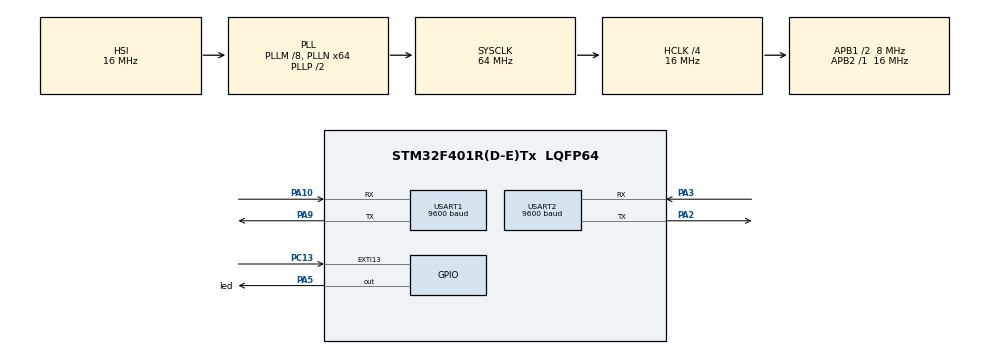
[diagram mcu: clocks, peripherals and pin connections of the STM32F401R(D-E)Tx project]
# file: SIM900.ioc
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Mcu.Family=STM32F4
Mcu.Name=STM32F401R(D-E)Tx
Mcu.Package=LQFP64
NVIC.EXTI15_10_IRQn=true\:0\:0\:false\:false\:true\:true\:true
NVIC.PriorityGroup=NVIC_PRIORITYGROUP_0
NVIC.USART1_IRQn=true\:0\:0\:false\:false\:true\:true\:true
NVIC.USART2_IRQn=true\:0\:0\:false\:false\:true\:true\:true
PA10.GPIO_PuPd=GPIO_NOPULL
PA10.Mode=Asynchronous
PA10.Signal=USART1_RX
PA2.GPIO_ModeDefaultPP=GPIO_MODE_AF_PP
PA2.GPIO_PuPd=GPIO_NOPULL
PA2.GPIO_Speed=GPIO_SPEED_FREQ_LOW
PA2.Mode=Asynchronous
PA2.Signal=USART2_TX
PA3.GPIO_Speed=GPIO_SPEED_FREQ_LOW
PA3.Mode=Asynchronous
PA3.Signal=USART2_RX
PA5.GPIO_Label=led
PA5.Signal=GPIO_Output
PA9.GPIO_ModeDefaultPP=GPIO_MODE_AF_PP
PA9.GPIO_PuPd=GPIO_NOPULL
PA9.Mode=Asynchronous
PA9.Signal=USART1_TX
PC13-ANTI_TAMP.GPIO_ModeDefaultEXTI=GPIO_MODE_IT_FALLING
PC13-ANTI_TAMP.GPIO_PuPd=GPIO_PULLUP
PC13-ANTI_TAMP.Signal=GPXTI13
PH0\ -\ OSC_IN.Mode=HSE-External-Oscillator
PH0\ -\ OSC_IN.Signal=RCC_OSC_IN
PH1\ -\ OSC_OUT.Mode=HSE-External-Oscillator
PH1\ -\ OSC_OUT.Signal=RCC_OSC_OUT
ProjectManager.HeapSize=0x2000
ProjectManager.StackSize=0x4000
ProjectManager.TargetToolchain=MDK-ARM V5.27
RCC.48MHZClocksFreq_Value=18285714.285714287
RCC.AHBCLKDivider=RCC_SYSCLK_DIV4
RCC.AHBFreq_Value=16000000
RCC.APB1CLKDivider=RCC_HCLK_DIV2
RCC.APB1Freq_Value=8000000
RCC.APB1TimFreq_Value=16000000
RCC.APB2Freq_Value=16000000
RCC.APB2TimFreq_Value=16000000
RCC.CortexFreq_Value=16000000
RCC.HCLKFreq_Value=16000000
RCC.HSE_VALUE=8000000
RCC.HSI_VALUE=16000000
RCC.LSE_VALUE=32768
RCC.PLLM=8
RCC.PLLN=64
RCC.PLLQ=7
RCC.SYSCLKFreq_VALUE=64000000
RCC.SYSCLKSource=RCC_SYSCLKSOURCE_PLLCLK
RCC.VCOOutputFreq_Value=128000000
USART1.BaudRate=9600
USART1.VirtualMode=VM_ASYNC
USART2.BaudRate=9600
USART2.VirtualMode=VM_ASYNC
board=NUCLEO-F401RE

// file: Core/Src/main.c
/* USER CODE BEGIN Header */
/**
  ******************************************************************************
  * @file           : main.c
  * @brief          : Main program body
  ******************************************************************************
  * @attention
  *
  * <h2><center>&copy; Copyright (c) 2021 STMicroelectronics.
  * All rights reserved.</center></h2>
  *
  * This software component is licensed by ST under BSD 3-Clause license,
  * the "License"; You may not use this file except in compliance with the
  * License. You may obtain a copy of the License at:
  *                        opensource.org/licenses/BSD-3-Clause
  *
  ******************************************************************************
  */
/* USER CODE END Header */
#include "main.h"

/* USER CODE BEGIN Includes */
#include <string.h>
#include <stdlib.h>
#include <stdio.h>

/* USER CODE END Includes */

UART_HandleTypeDef huart1;
UART_HandleTypeDef huart2;

/* USER CODE BEGIN PV */

char MsgCMD[20]="AT+CMGF=?\r\n";
char MsgCMD1[20]="AT+CMGF=1\r\n";
char num[50]="AT+CMGS=\"+254727880887\"\r";
char msg[200]="HELLO ENGINEER ARON,THIS MESSAGE IS FROM STM32F446RE.I HAVE BEEN TOLD TO SAY HI BY EDISON,HOW ARE YOU TODAY?";
char Dial_Num[20]="ATD0727880887;\r\n";
char hold[50];
char RX_Buffer[23];

/* USER CODE END PV */

void SystemClock_Config(void);
static void MX_GPIO_Init(void);
static void MX_USART1_UART_Init(void);
static void MX_USART2_UART_Init(void);
/* USER CODE BEGIN PFP */
void GSM_Init(void);
int Send_SMS(void);
void make_phone(void);
/* USER CODE END PFP */

int main(void)
{

  /* MCU Configuration--------------------------------------------------------*/

  /* Reset of all peripherals, Initializes the Flash interface and the Systick. */
  HAL_Init();

  /* Configure the system clock */
  SystemClock_Config();

  /* Initialize all configured peripherals */
  MX_GPIO_Init();
  MX_USART1_UART_Init();
  MX_USART2_UART_Init();
  /* USER CODE BEGIN 2 */
	//GSM_Init();

	HAL_UART_Transmit(&huart1,(uint8_t*)Dial_Num,strlen(Dial_Num),HAL_MAX_DELAY);
  /* USER CODE END 2 */

  /* Infinite loop */
  while (1)
  {

  }
}

void SystemClock_Config(void)
{
  RCC_OscInitTypeDef RCC_OscInitStruct = {0};
  RCC_ClkInitTypeDef RCC_ClkInitStruct = {0};

  /** Configure the main internal regulator output voltage
  */
  __HAL_RCC_PWR_CLK_ENABLE();
  __HAL_PWR_VOLTAGESCALING_CONFIG(PWR_REGULATOR_VOLTAGE_SCALE2);
  /** Initializes the RCC Oscillators according to the specified parameters
  * in the RCC_OscInitTypeDef structure.
  */
  RCC_OscInitStruct.OscillatorType = RCC_OSCILLATORTYPE_HSI;
  RCC_OscInitStruct.HSIState = RCC_HSI_ON;
  RCC_OscInitStruct.HSICalibrationValue = RCC_HSICALIBRATION_DEFAULT;
  RCC_OscInitStruct.PLL.PLLState = RCC_PLL_ON;
  RCC_OscInitStruct.PLL.PLLSource = RCC_PLLSOURCE_HSI;
  RCC_OscInitStruct.PLL.PLLM = 8;
  RCC_OscInitStruct.PLL.PLLN = 64;
  RCC_OscInitStruct.PLL.PLLP = RCC_PLLP_DIV2;
  RCC_OscInitStruct.PLL.PLLQ = 7;
  if (HAL_RCC_OscConfig(&RCC_OscInitStruct) != HAL_OK)
  {
    Error_Handler();
  }
  /** Initializes the CPU, AHB and APB buses clocks
  */
  RCC_ClkInitStruct.ClockType = RCC_CLOCKTYPE_HCLK|RCC_CLOCKTYPE_SYSCLK
                              |RCC_CLOCKTYPE_PCLK1|RCC_CLOCKTYPE_PCLK2;
  RCC_ClkInitStruct.SYSCLKSource = RCC_SYSCLKSOURCE_PLLCLK;
  RCC_ClkInitStruct.AHBCLKDivider = RCC_SYSCLK_DIV4;
  RCC_ClkInitStruct.APB1CLKDivider = RCC_HCLK_DIV2;
  RCC_ClkInitStruct.APB2CLKDivider = RCC_HCLK_DIV1;

  if (HAL_RCC_ClockConfig(&RCC_ClkInitStruct, FLASH_LATENCY_0) != HAL_OK)
  {
    Error_Handler();
  }
}

static void MX_USART1_UART_Init(void)
{

  huart1.Instance = USART1;
  huart1.Init.BaudRate = 9600;
  huart1.Init.WordLength = UART_WORDLENGTH_8B;
  huart1.Init.StopBits = UART_STOPBITS_1;
  huart1.Init.Parity = UART_PARITY_NONE;
  huart1.Init.Mode = UART_MODE_TX_RX;
  huart1.Init.HwFlowCtl = UART_HWCONTROL_NONE;
  huart1.Init.OverSampling = UART_OVERSAMPLING_16;
  if (HAL_UART_Init(&huart1) != HAL_OK)
  {
    Error_Handler();
  }

}

static void MX_USART2_UART_Init(void)
{

  huart2.Instance = USART2;
  huart2.Init.BaudRate = 9600;
  huart2.Init.WordLength = UART_WORDLENGTH_8B;
  huart2.Init.StopBits = UART_STOPBITS_1;
  huart2.Init.Parity = UART_PARITY_NONE;
  huart2.Init.Mode = UART_MODE_TX_RX;
  huart2.Init.HwFlowCtl = UART_HWCONTROL_NONE;
  huart2.Init.OverSampling = UART_OVERSAMPLING_16;
  if (HAL_UART_Init(&huart2) != HAL_OK)
  {
    Error_Handler();
  }

}

static void MX_GPIO_Init(void)
{
  GPIO_InitTypeDef GPIO_InitStruct = {0};

  /* GPIO Ports Clock Enable */
  __HAL_RCC_GPIOC_CLK_ENABLE();
  __HAL_RCC_GPIOH_CLK_ENABLE();
  __HAL_RCC_GPIOA_CLK_ENABLE();

  /*Configure GPIO pin Output Level */
  HAL_GPIO_WritePin(led_GPIO_Port, led_Pin, GPIO_PIN_RESET);

  /*Configure GPIO pin : PC13 */
  GPIO_InitStruct.Pin = GPIO_PIN_13;
  GPIO_InitStruct.Mode = GPIO_MODE_IT_FALLING;
  GPIO_InitStruct.Pull = GPIO_PULLUP;
  HAL_GPIO_Init(GPIOC, &GPIO_InitStruct);

  /*Configure GPIO pin : led_Pin */
  GPIO_InitStruct.Pin = led_Pin;
  GPIO_InitStruct.Mode = GPIO_MODE_OUTPUT_PP;
  GPIO_InitStruct.Pull = GPIO_NOPULL;
  GPIO_InitStruct.Speed = GPIO_SPEED_FREQ_LOW;
  HAL_GPIO_Init(led_GPIO_Port, &GPIO_InitStruct);

  /* EXTI interrupt init*/
  HAL_NVIC_SetPriority(EXTI15_10_IRQn, 0, 0);
  HAL_NVIC_EnableIRQ(EXTI15_10_IRQn);

}

/* USER CODE BEGIN 4 */

int Send_SMS(void)
{
	int n=26;
  char ch[1];
	ch[0]=n;

	HAL_UART_Transmit(&huart1,(uint8_t*)num,strlen(num),HAL_MAX_DELAY);
	HAL_Delay(1000);

//	HAL_UART_Transmit(&huart1,(uint8_t*)"\r",1,100);

	HAL_UART_Transmit(&huart1,(uint8_t*)msg,strlen(msg),HAL_MAX_DELAY);
	HAL_Delay(100);
	HAL_UART_Transmit(&huart1,(uint8_t*)ch,10,1000);

	return 1;
}

void GSM_Init(void)
{
	HAL_UART_Transmit(&huart1,(uint8_t*)MsgCMD,strlen(MsgCMD),HAL_MAX_DELAY);
	HAL_UART_Receive(&huart1,(uint8_t*)RX_Buffer,10,HAL_MAX_DELAY);
	sprintf(hold,"SMS MODE=%s\r\n\n",RX_Buffer);
	HAL_UART_Transmit(&huart2,(uint8_t*)hold,strlen(hold),HAL_MAX_DELAY);

	///////////////////activate text mode
	HAL_UART_Transmit(&huart1,(uint8_t*)MsgCMD1,strlen(MsgCMD1),HAL_MAX_DELAY);
	HAL_UART_Receive(&huart1,(uint8_t*)RX_Buffer,20,1000);
	sprintf(hold,"\nSMS MODE_NOW=%s\r\n",RX_Buffer);
	HAL_UART_Transmit(&huart2,(uint8_t*)hold,strlen(hold),HAL_MAX_DELAY);
}

/* USER CODE END 4 */

void Error_Handler(void)
{
  __disable_irq();
  while (1)
  {
  }
}

/************************ (C) COPYRIGHT STMicroelectronics *****END OF FILE****/
